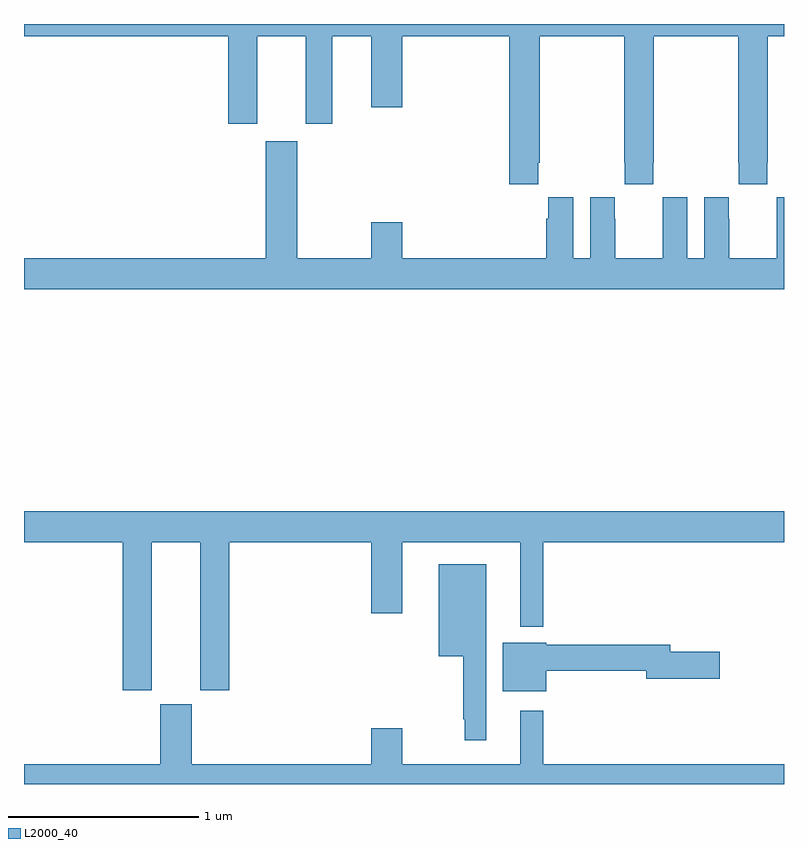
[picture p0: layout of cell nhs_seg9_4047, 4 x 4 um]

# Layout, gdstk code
import gdstk
lib = gdstk.Library(unit=1e-6, precision=1e-09)
def P(c, l, *ps):  # polygons
    for p in ps: c.add(gdstk.Polygon(p, *l))
L2000_40 = (2000, 40)

nhs_seg9_4047 = lib.new_cell('nhs_seg9_4047')
P(nhs_seg9_4047, L2000_40, [(345.707,1179.769),(345.714,1179.769),(345.714,1180.436),(346.159,1180.436),(346.159,1179.769),(346.161,1179.769),(346.161,1179.657),(346.311,1179.657),(346.311,1179.769),(346.314,1179.769),(346.314,1180.436),(346.759,1180.436),(346.759,1179.769),(346.761,1179.769),(346.761,1179.657),(346.911,1179.657),(346.911,1179.769),(346.914,1179.769),(346.914,1180.436),(347,1180.436),(347,1180.5),(343,1180.5),(343,1180.436),(344.075,1180.436),(344.075,1179.975),(344.227,1179.975),(344.227,1180.436),(344.483,1180.436),(344.483,1179.975),(344.623,1179.975),(344.623,1180.436),(344.828,1180.436),(344.828,1180.062),(344.992,1180.062),(344.992,1180.436),(345.554,1180.436),(345.554,1179.657),(345.707,1179.657)],
  [(345.758,1179.589),(345.758,1179.476),(345.749,1179.476),(345.749,1179.268),(344.992,1179.268),(344.992,1179.457),(344.828,1179.457),(344.828,1179.268),(344.437,1179.268),(344.437,1179.883),(344.273,1179.883),(344.273,1179.268),(343,1179.268),(343,1179.104),(347,1179.104),(347,1179.589),(346.962,1179.589),(346.962,1179.476),(346.961,1179.476),(346.961,1179.268),(346.711,1179.268),(346.711,1179.476),(346.71,1179.476),(346.71,1179.589),(346.58,1179.589),(346.58,1179.268),(346.492,1179.268),(346.492,1179.589),(346.362,1179.589),(346.362,1179.476),(346.361,1179.476),(346.361,1179.268),(346.111,1179.268),(346.111,1179.476),(346.11,1179.476),(346.11,1179.589),(345.98,1179.589),(345.98,1179.268),(345.892,1179.268),(345.892,1179.589)],
  [(343.672,1177.772),(343.928,1177.772),(343.928,1176.993),(344.081,1176.993),(344.081,1177.772),(344.828,1177.772),(344.828,1177.398),(344.992,1177.398),(344.992,1177.772),(345.611,1177.772),(345.611,1177.328),(345.733,1177.328),(345.733,1177.772),(347,1177.772),(347,1177.936),(343,1177.936),(343,1177.772),(343.52,1177.772),(343.52,1176.993),(343.672,1176.993)],
  [(345.433,1177.657),(345.182,1177.657),(345.182,1177.172),(345.312,1177.172),(345.312,1176.841),(345.319,1176.841),(345.319,1176.729),(345.433,1176.729)],
  [(345.748,1177.096),(346.274,1177.096),(346.274,1177.054),(346.663,1177.054),(346.663,1177.196),(346.402,1177.196),(346.402,1177.232),(345.748,1177.232),(345.748,1177.243),(345.521,1177.243),(345.521,1176.989),(345.748,1176.989)],
  [(343.882,1176.921),(343.718,1176.921),(343.718,1176.604),(343,1176.604),(343,1176.5),(347,1176.5),(347,1176.604),(345.733,1176.604),(345.733,1176.886),(345.611,1176.886),(345.611,1176.604),(344.992,1176.604),(344.992,1176.793),(344.828,1176.793),(344.828,1176.604),(343.882,1176.604)])

lib.write_gds('nhs_seg9_4047.gds')
